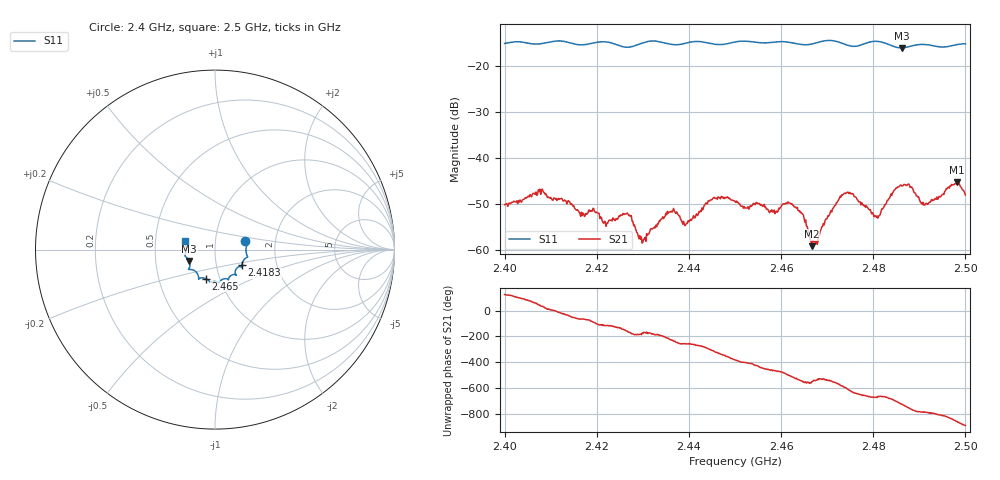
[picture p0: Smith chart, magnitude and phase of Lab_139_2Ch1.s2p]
# Hz S RI R 50
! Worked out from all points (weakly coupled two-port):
!   601 points, 2.4 GHz to 2.5 GHz, reference 50 ohm
!   highest |S21| = -45.32 dB at 2.4982 GHz (marker M1); lowest = -59.2 dB at 2.4667 GHz (marker M2)
!   lowest |S11| = -16.1 dB at 2.4862 GHz (marker M3), VSWR 1.37, Z = 37.2 - j4.81 ohm
!   |S11| at or under -10 dB: start of sweep to end of sweep
!   S12 and S22 are empty: the file has one direction only
!   S11 on the Smith chart (normalised r, x): 2.4 GHz: 1.40, +0.13; 2.4183 GHz: 1.33, -0.24; 2.465 GHz: 0.86, -0.28; 2.5 GHz: 0.71, +0.07
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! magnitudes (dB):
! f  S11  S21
! 2.4 GHz  -15.1  -50.1
! 2.4078 GHz  -15.2  -47.9
! 2.4167 GHz  -15.4  -51.8
! 2.4183 GHz  -15.2  -51.3
! 2.4218 GHz  -14.8  -53.9
! 2.427 GHz  -15.9  -52.5
! 2.4302 GHz  -14.9  -57.6
! 2.4333 GHz  -14.7  -54.4
! 2.4395 GHz  -15.0  -54.2
! 2.4455 GHz  -15.3  -48.6
! 2.45 GHz  -14.8  -49.4
! 2.4587 GHz  -14.8  -52.1
! 2.4618 GHz  -14.9  -49.8
! 2.465 GHz  -15.4  -53.2
! 2.4667 GHz  -15.3  -59.2
! 2.4737 GHz  -15.2  -47.7
! 2.4807 GHz  -14.7  -52.9
! 2.4833 GHz  -15.3  -48.9
! 2.4862 GHz  -16.1  -46.1
! 2.4915 GHz  -15.4  -49.8
! 2.4982 GHz  -15.4  -45.3
! 2.5 GHz  -15.2  -48.0
